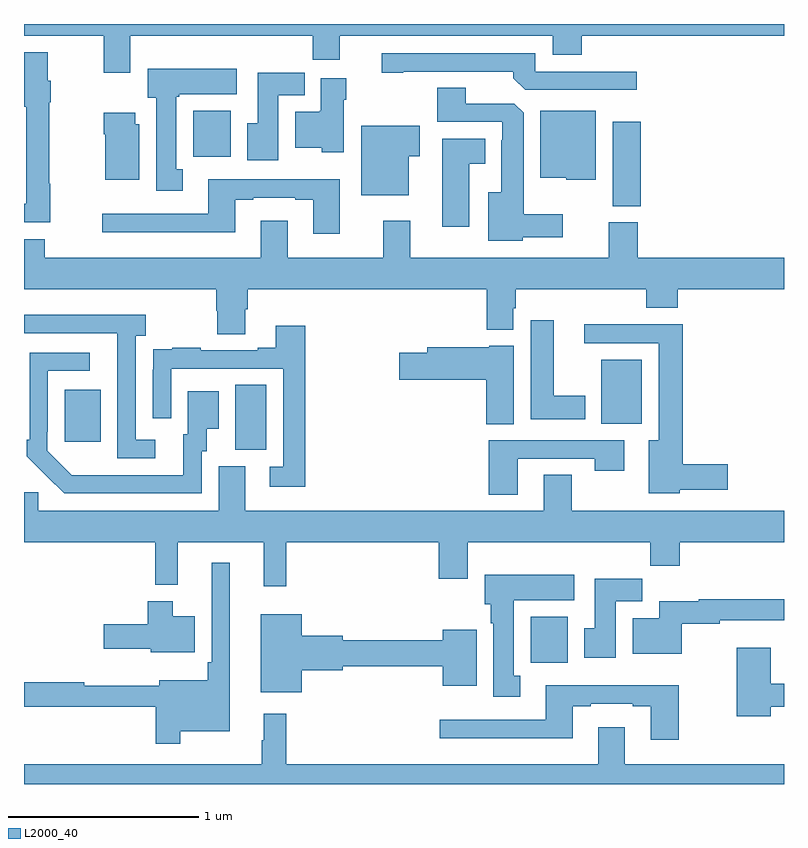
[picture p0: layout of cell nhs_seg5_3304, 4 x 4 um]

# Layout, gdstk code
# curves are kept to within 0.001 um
import gdstk
lib = gdstk.Library(unit=1e-6, precision=1e-09)
def R(c, l, rs):  # rectangles x0, y0, x1, y1
    for r in rs: c.add(gdstk.rectangle(r[:2], r[2:], *l))
def P(c, l, *ps):  # polygons
    for p in ps: c.add(gdstk.Polygon(p, *l))
L2000_40 = (2000, 40)

nhs_seg5_3304 = lib.new_cell('nhs_seg5_3304')
R(nhs_seg5_3304, L2000_40, [(305.666,877.436,305.863,877.678), (304.112,878.557,304.276,878.9), (303.215,878.601,303.403,878.875), (306.038,878.696,306.25,879.031), (306.098,879.841,306.245,880.285), (303.89,880.1,304.087,880.342)])
P(nhs_seg5_3304, L2000_40, [(303.559,880.736),(304.519,880.736),(304.519,880.612),(304.663,880.612),(304.663,880.736),(305.783,880.736),(305.783,880.637),(305.936,880.637),(305.936,880.736),(307,880.736),(307,880.799),(303,880.799),(303,880.736),(303.419,880.736),(303.419,880.542),(303.559,880.542)],
  [(303.137,879.959),(303.132,879.959),(303.132,880.386),(303.142,880.386),(303.142,880.5),(303.124,880.5),(303.124,880.651),(303,880.651),(303,880.364),(303.011,880.364),(303.011,879.852),(303,879.852),(303,879.755),(303.137,879.755)],
  [(306.226,880.548),(305.691,880.548),(305.691,880.644),(304.884,880.644),(304.884,880.543),(304.996,880.543),(304.996,880.548),(305.576,880.548),(305.576,880.514),(305.637,880.452),(306.226,880.452)],
  [(303.835,880.034),(303.802,880.034),(303.802,880.417),(303.816,880.417),(303.816,880.43),(304.12,880.43),(304.12,880.564),(303.65,880.564),(303.65,880.41),(303.695,880.41),(303.695,879.921),(303.835,879.921)],
  [(304.339,880.424),(304.477,880.424),(304.477,880.542),(304.229,880.542),(304.229,880.276),(304.175,880.276),(304.175,880.083),(304.339,880.083)],
  [(304.684,880.4),(304.697,880.4),(304.697,880.513),(304.562,880.513),(304.562,880.342),(304.556,880.342),(304.556,880.336),(304.427,880.336),(304.427,880.148),(304.566,880.148),(304.566,880.124),(304.684,880.124)],
  [(305.625,879.677),(305.836,879.677),(305.836,879.799),(305.629,879.799),(305.629,880.331),(305.58,880.38),(305.326,880.38),(305.326,880.463),(305.174,880.463),(305.174,880.284),(305.517,880.284),(305.517,880.187),(305.513,880.187),(305.513,879.913),(305.444,879.913),(305.444,879.659),(305.625,879.659)],
  [(306.01,880.342),(305.717,880.342),(305.717,879.989),(305.853,879.989),(305.853,879.98),(306.01,879.98)],
  [(303.607,880.272),(303.586,880.272),(303.586,880.333),(303.421,880.333),(303.421,880.22),(303.428,880.22),(303.428,879.98),(303.607,879.98)],
  [(305.026,880.102),(305.083,880.102),(305.083,880.264),(304.775,880.264),(304.775,879.899),(305.026,879.899)],
  [(305.344,880.064),(305.428,880.064),(305.428,880.195),(305.201,880.195),(305.201,879.732),(305.344,879.732)],
  [(304.663,879.982),(304.431,879.982),(304.431,879.981),(303.971,879.981),(303.971,879.801),(303.411,879.801),(303.411,879.704),(304.111,879.704),(304.111,879.873),(304.207,879.873),(304.207,879.885),(304.427,879.885),(304.427,879.873),(304.523,879.873),(304.523,879.696),(304.663,879.696)],
  [(304.165,879.298),(304.178,879.298),(304.178,879.404),(305.435,879.404),(305.435,879.191),(305.575,879.191),(305.575,879.303),(305.588,879.303),(305.588,879.404),(306.275,879.404),(306.275,879.305),(306.44,879.305),(306.44,879.404),(307,879.404),(307,879.568),(306.23,879.568),(306.23,879.756),(306.077,879.756),(306.077,879.568),(305.032,879.568),(305.032,879.763),(304.892,879.763),(304.892,879.568),(304.387,879.568),(304.387,879.763),(304.247,879.763),(304.247,879.568),(303.11,879.568),(303.11,879.667),(303,879.667),(303,879.404),(304.013,879.404),(304.013,879.291),(304.018,879.291),(304.018,879.166),(304.165,879.166)],
  [(303.691,878.61),(303.588,878.61),(303.588,879.158),(303.64,879.158),(303.64,879.268),(303,879.268),(303,879.171),(303.491,879.171),(303.491,878.971),(303.492,878.971),(303.492,878.514),(303.691,878.514)],
  [(305.953,878.842),(305.788,878.842),(305.788,879.241),(305.666,879.241),(305.666,878.72),(305.953,878.72)],
  [(306.45,878.348),(306.703,878.348),(306.703,878.483),(306.467,878.483),(306.467,879.218),(305.949,879.218),(305.949,879.12),(306.341,879.12),(306.341,878.608),(306.287,878.608),(306.287,878.33),(306.45,878.33)],
  [(304.481,879.211),(304.325,879.211),(304.325,879.094),(304.229,879.094),(304.229,879.081),(303.929,879.081),(303.929,879.094),(303.781,879.094),(303.781,879.087),(303.679,879.087),(303.679,878.978),(303.678,878.978),(303.678,878.724),(303.774,878.724),(303.774,878.985),(304.365,878.985),(304.365,878.469),(304.293,878.469),(304.293,878.364),(304.481,878.364)],
  [(305.578,879.106),(305.448,879.106),(305.448,879.099),(305.123,879.099),(305.123,879.069),(304.974,879.069),(304.974,878.927),(305.432,878.927),(305.432,878.692),(305.578,878.692)],
  [(303.936,878.55),(303.961,878.55),(303.961,878.669),(304.024,878.669),(304.024,878.866),(303.863,878.866),(303.863,878.64),(303.839,878.64),(303.839,878.424),(303.252,878.425),(303.123,878.553),(303.123,878.653),(303.126,878.653),(303.126,878.973),(303.346,878.973),(303.346,879.069),(303.03,879.069),(303.03,878.611),(303.015,878.611),(303.015,878.523),(303.212,878.328),(303.936,878.328)],
  [(305.599,878.511),(306.004,878.511),(306.004,878.448),(306.16,878.448),(306.16,878.607),(305.447,878.607),(305.447,878.322),(305.599,878.322)],
  [(304.379,878.072),(305.183,878.072),(305.183,877.878),(305.335,877.878),(305.335,878.072),(306.295,878.072),(306.295,877.948),(306.452,877.948),(306.452,878.072),(307,878.072),(307,878.236),(305.883,878.236),(305.883,878.426),(305.735,878.426),(305.735,878.236),(304.165,878.236),(304.165,878.472),(304.025,878.472),(304.025,878.236),(303.075,878.236),(303.075,878.334),(303,878.334),(303,878.072),(303.691,878.072),(303.691,877.847),(303.809,877.847),(303.809,878.072),(304.262,878.072),(304.262,877.839),(304.379,877.839)],
  [(303.823,877.076),(304.084,877.076),(304.084,877.963),(303.987,877.963),(303.987,877.441),(303.967,877.441),(303.967,877.345),(303.713,877.345),(303.713,877.316),(303.317,877.316),(303.317,877.334),(303,877.334),(303,877.206),(303.694,877.206),(303.694,877.011),(303.823,877.011)],
  [(305.611,877.37),(305.578,877.37),(305.578,877.766),(305.896,877.766),(305.896,877.9),(305.426,877.9),(305.426,877.746),(305.456,877.746),(305.456,877.646),(305.471,877.646),(305.471,877.257),(305.611,877.257)],
  [(306.115,877.76),(306.254,877.76),(306.254,877.879),(306.005,877.879),(306.005,877.62),(305.948,877.62),(305.948,877.464),(306.115,877.464)],
  [(306.462,877.642),(306.662,877.642),(306.662,877.661),(307,877.661),(307,877.771),(306.55,877.771),(306.55,877.76),(306.344,877.76),(306.344,877.672),(306.203,877.672),(306.203,877.484),(306.462,877.484)],
  [(303.898,877.681),(303.784,877.681),(303.784,877.762),(303.65,877.762),(303.65,877.641),(303.42,877.641),(303.42,877.511),(303.666,877.511),(303.666,877.493),(303.898,877.493)],
  [(304.462,877.397),(304.678,877.397),(304.678,877.42),(305.204,877.42),(305.204,877.316),(305.383,877.316),(305.383,877.612),(305.204,877.612),(305.204,877.556),(304.678,877.556),(304.678,877.58),(304.462,877.58),(304.462,877.693),(304.247,877.693),(304.247,877.283),(304.462,877.283)],
  [(306.929,877.206),(307,877.206),(307,877.327),(306.929,877.327),(306.929,877.516),(306.751,877.516),(306.751,877.155),(306.929,877.155)],
  [(306.447,877.318),(305.747,877.318),(305.747,877.137),(305.187,877.137),(305.187,877.04),(305.887,877.04),(305.887,877.209),(305.983,877.209),(305.983,877.221),(306.203,877.221),(306.203,877.209),(306.299,877.209),(306.299,877.032),(306.447,877.032)],
  [(307,876.904),(306.163,876.904),(306.163,877.099),(306.023,877.099),(306.023,876.904),(304.379,876.904),(304.379,877.168),(304.262,877.168),(304.262,877.028),(304.251,877.028),(304.251,876.904),(303,876.904),(303,876.799),(307,876.799)])

lib.write_gds('nhs_seg5_3304.gds')
